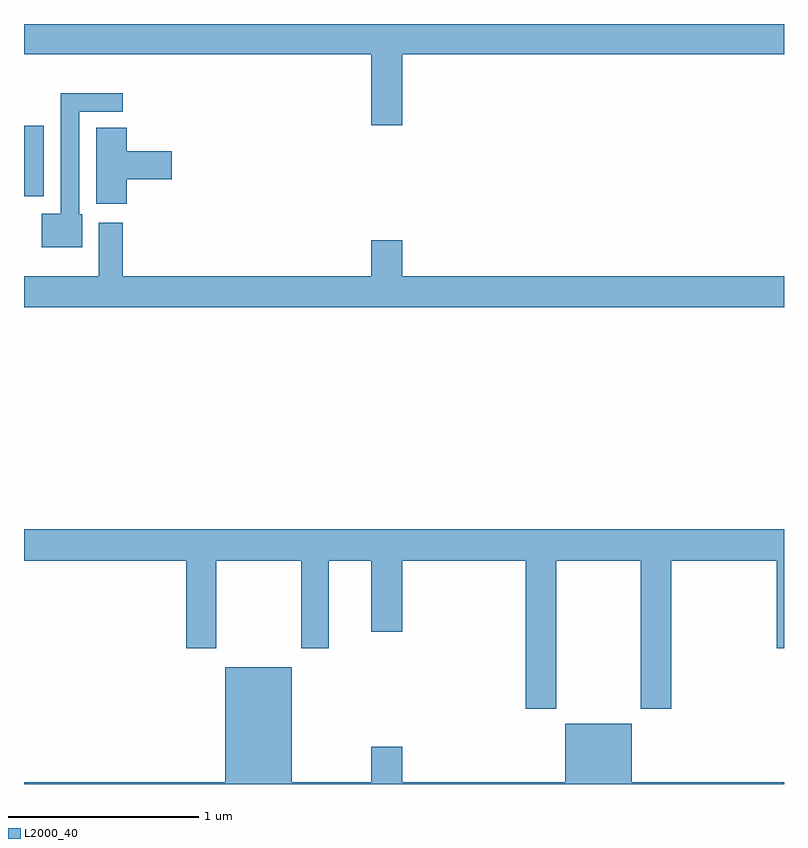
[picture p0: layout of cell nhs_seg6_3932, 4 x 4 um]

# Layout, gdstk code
import gdstk
lib = gdstk.Library(unit=1e-6, precision=1e-09)
def P(c, l, *ps):  # polygons
    for p in ps: c.add(gdstk.Polygon(p, *l))
L2000_40 = (2000, 40)

nhs_seg6_3932 = lib.new_cell('nhs_seg6_3932')
P(nhs_seg6_3932, L2000_40, [(344.992,943.34),(347,943.34),(347,943.5),(343,943.5),(343,943.34),(344.828,943.34),(344.828,942.966),(344.992,942.966)],
  [(343.306,942.498),(343.29,942.498),(343.29,943.038),(343.519,943.038),(343.519,943.136),(343.194,943.136),(343.194,942.502),(343.094,942.502),(343.094,942.326),(343.306,942.326)],
  [(343.105,942.964),(343.001,942.964),(343.001,942.951),(343,942.951),(343,942.594),(343.105,942.594)],
  [(343.541,942.683),(343.777,942.683),(343.777,942.83),(343.541,942.83),(343.541,942.953),(343.379,942.953),(343.379,942.555),(343.541,942.555)],
  [(347,942.172),(344.992,942.172),(344.992,942.361),(344.828,942.361),(344.828,942.172),(343.52,942.172),(343.52,942.454),(343.394,942.454),(343.394,942.172),(343,942.172),(343,942.008),(347,942.008)],
  [(345.801,940.676),(346.246,940.676),(346.246,939.897),(346.406,939.897),(346.406,940.676),(346.961,940.676),(346.961,940.215),(347,940.215),(347,940.84),(343,940.84),(343,940.676),(343.853,940.676),(343.853,940.215),(344.013,940.215),(344.013,940.676),(344.458,940.676),(344.458,940.215),(344.605,940.215),(344.605,940.676),(344.828,940.676),(344.828,940.302),(344.992,940.302),(344.992,940.676),(345.641,940.676),(345.641,939.897),(345.801,939.897)],
  [(347,939.508),(346.198,939.508),(346.198,939.817),(345.848,939.817),(345.848,939.508),(344.992,939.508),(344.992,939.697),(344.828,939.697),(344.828,939.508),(344.41,939.508),(344.41,940.114),(344.06,940.114),(344.06,939.508),(343,939.508),(343,939.5),(347,939.5)])

lib.write_gds('nhs_seg6_3932.gds')
